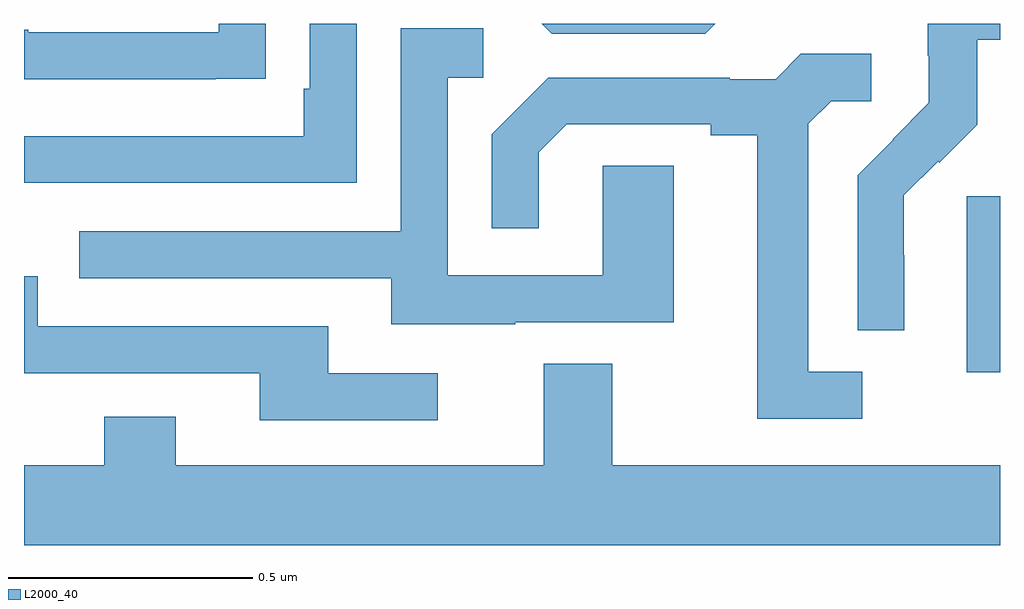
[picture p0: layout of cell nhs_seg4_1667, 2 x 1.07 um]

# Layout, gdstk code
import gdstk
lib = gdstk.Library(unit=1e-6, precision=1e-09)
def R(c, l, rs):  # rectangles x0, y0, x1, y1
    for r in rs: c.add(gdstk.rectangle(r[:2], r[2:], *l))
def P(c, l, *ps):  # polygons
    for p in ps: c.add(gdstk.Polygon(p, *l))
L2000_40 = (2000, 40)

nhs_seg4_1667 = lib.new_cell('nhs_seg4_1667')
R(nhs_seg4_1667, L2000_40, [(132.932,785.186,133,785.547)])
P(nhs_seg4_1667, L2000_40, [(131.682,785.9),(131.586,785.9),(131.586,785.767),(131.573,785.767),(131.573,785.67),(131,785.67),(131,785.574),(131.682,785.574)],
  [(132.416,785.9),(132.061,785.9),(132.081,785.88),(132.396,785.88)],
  [(132.804,785.426),(132.803,785.426),(132.803,785.549),(132.873,785.619),(132.876,785.616),(132.953,785.693),(132.953,785.868),(133,785.868),(133,785.9),(132.852,785.9),(132.852,785.835),(132.854,785.835),(132.854,785.738),(132.78,785.664),(132.781,785.663),(132.708,785.59),(132.708,785.272),(132.804,785.272)],
  [(131.393,785.788),(131.495,785.788),(131.495,785.9),(131.399,785.9),(131.399,785.883),(131.009,785.883),(131.009,785.888),(131,785.888),(131,785.787),(131.393,785.787)],
  [(132.007,785.289),(132.331,785.289),(132.331,785.609),(132.186,785.609),(132.186,785.385),(131.868,785.385),(131.868,785.79),(131.941,785.79),(131.941,785.891),(131.772,785.891),(131.772,785.475),(131.113,785.475),(131.113,785.379),(131.753,785.379),(131.753,785.285),(132.007,785.285)],
  [(132.718,785.187),(132.607,785.187),(132.607,785.695),(132.654,785.742),(132.736,785.742),(132.736,785.839),(132.592,785.839),(132.54,785.787),(132.446,785.787),(132.446,785.79),(132.074,785.79),(131.958,785.674),(131.958,785.481),(132.055,785.481),(132.055,785.637),(132.112,785.694),(132.407,785.694),(132.407,785.672),(132.503,785.672),(132.503,785.091),(132.718,785.091)],
  [(131.848,785.184),(131.623,785.184),(131.623,785.28),(131.028,785.28),(131.028,785.383),(131,785.383),(131,785.184),(131.483,785.184),(131.483,785.088),(131.848,785.088)],
  [(133,784.996),(132.205,784.996),(132.205,785.204),(132.065,785.204),(132.065,784.996),(131.311,784.996),(131.311,785.095),(131.164,785.095),(131.164,784.996),(131,784.996),(131,784.832),(133,784.832)])

lib.write_gds('nhs_seg4_1667.gds')
